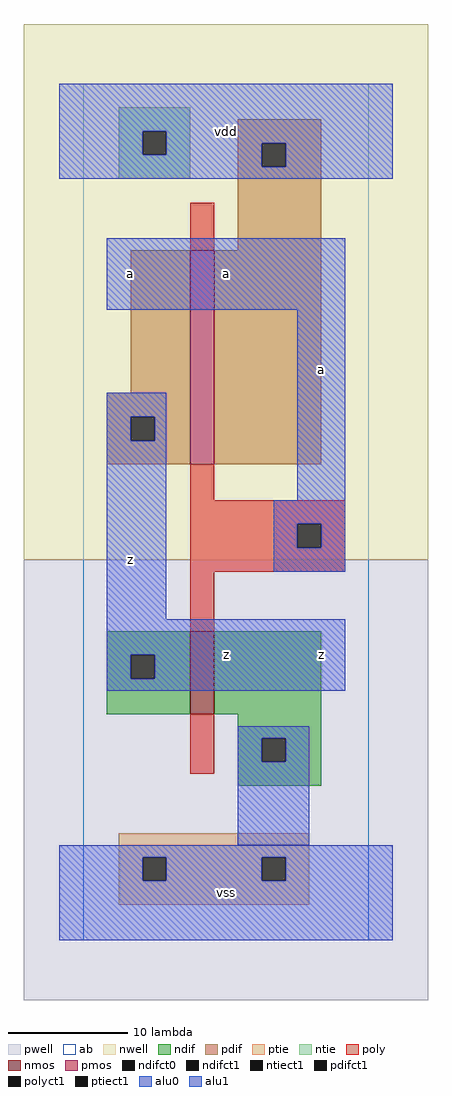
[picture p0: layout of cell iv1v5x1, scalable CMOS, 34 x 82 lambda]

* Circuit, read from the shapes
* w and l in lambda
.subckt iv1v5x1 a vdd vss z
M1 vss a z vss nfet w=7 l=2
M2 vdd a z vdd pfet w=18 l=2
.ends

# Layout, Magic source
magic
tech scmos
<< ab >>
rect 0 0 24 72
<< nwell >>
rect -5 32 29 77
<< pwell >>
rect -5 -5 29 32
<< poly >>
rect 9 58 11 62
rect 9 37 11 40
rect 9 35 22 37
rect 9 33 18 35
rect 20 33 22 35
rect 9 31 22 33
rect 9 26 11 31
rect 9 14 11 19
<< ndif >>
rect 2 24 9 26
rect 2 22 4 24
rect 6 22 9 24
rect 2 19 9 22
rect 11 19 20 26
rect 13 17 20 19
rect 13 15 15 17
rect 17 15 20 17
rect 13 13 20 15
<< pdif >>
rect 13 67 20 69
rect 13 65 15 67
rect 17 65 20 67
rect 13 58 20 65
rect 4 46 9 58
rect 2 44 9 46
rect 2 42 4 44
rect 6 42 9 44
rect 2 40 9 42
rect 11 40 20 58
<< alu1 >>
rect -2 68 26 72
rect -2 66 5 68
rect 7 67 26 68
rect 7 66 15 67
rect -2 65 15 66
rect 17 65 26 67
rect -2 64 26 65
rect 2 53 22 59
rect 2 44 7 46
rect 2 42 4 44
rect 6 42 7 44
rect 2 27 7 42
rect 18 37 22 53
rect 16 35 22 37
rect 16 33 18 35
rect 20 33 22 35
rect 16 31 22 33
rect 2 24 22 27
rect 2 22 4 24
rect 6 22 22 24
rect 2 21 22 22
rect -2 7 26 8
rect -2 5 5 7
rect 7 5 15 7
rect 17 5 26 7
rect -2 0 26 5
<< ptie >>
rect 3 7 19 9
rect 3 5 5 7
rect 7 5 15 7
rect 17 5 19 7
rect 3 3 19 5
<< ntie >>
rect 3 68 9 70
rect 3 66 5 68
rect 7 66 9 68
rect 3 64 9 66
<< nmos >>
rect 9 19 11 26
<< pmos >>
rect 9 40 11 58
<< polyct1 >>
rect 18 33 20 35
<< ndifct0 >>
rect 15 15 17 17
<< ndifct1 >>
rect 4 22 6 24
<< ntiect1 >>
rect 5 66 7 68
<< ptiect1 >>
rect 5 5 7 7
rect 15 5 17 7
<< pdifct1 >>
rect 15 65 17 67
rect 4 42 6 44
<< alu0 >>
rect 13 17 19 18
rect 13 15 15 17
rect 17 15 19 17
rect 13 8 19 15
<< labels >>
rlabel alu1 4 32 4 32 6 z
rlabel alu1 4 56 4 56 6 a
rlabel alu1 12 4 12 4 6 vss
rlabel alu1 12 24 12 24 6 z
rlabel alu1 12 56 12 56 6 a
rlabel alu1 12 68 12 68 6 vdd
rlabel alu1 20 24 20 24 6 z
rlabel alu1 20 48 20 48 6 a
<< end >>
